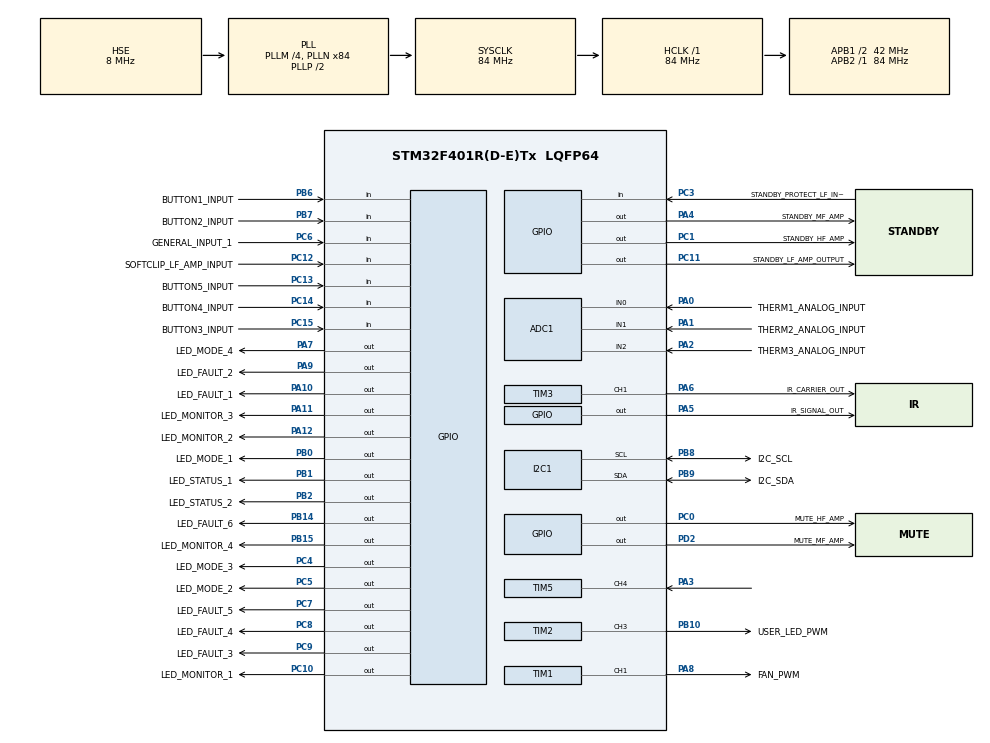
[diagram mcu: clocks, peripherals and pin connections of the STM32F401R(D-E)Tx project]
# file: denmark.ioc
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ADC1.Channel-1\#ChannelRegularConversion=ADC_CHANNEL_0
ADC1.Channel-2\#ChannelRegularConversion=ADC_CHANNEL_1
ADC1.Channel-3\#ChannelRegularConversion=ADC_CHANNEL_2
ADC1.ContinuousConvMode=ENABLE
ADC1.DMAContinuousRequests=ENABLE
ADC1.EOCSelection=ADC_EOC_SEQ_CONV
ADC1.NbrOfConversion=3
ADC1.NbrOfConversionFlag=1
ADC1.Rank-1\#ChannelRegularConversion=1
ADC1.Rank-2\#ChannelRegularConversion=2
ADC1.Rank-3\#ChannelRegularConversion=3
ADC1.SamplingTime-1\#ChannelRegularConversion=ADC_SAMPLETIME_112CYCLES
ADC1.SamplingTime-2\#ChannelRegularConversion=ADC_SAMPLETIME_112CYCLES
ADC1.SamplingTime-3\#ChannelRegularConversion=ADC_SAMPLETIME_112CYCLES
ADC1.ScanConvMode=ENABLE
ADC1.master=1
Dma.ADC1.0.Direction=DMA_PERIPH_TO_MEMORY
Dma.ADC1.0.FIFOMode=DMA_FIFOMODE_DISABLE
Dma.ADC1.0.Instance=DMA2_Stream0
Dma.ADC1.0.MemDataAlignment=DMA_MDATAALIGN_WORD
Dma.ADC1.0.MemInc=DMA_MINC_ENABLE
Dma.ADC1.0.Mode=DMA_CIRCULAR
Dma.ADC1.0.PeriphDataAlignment=DMA_PDATAALIGN_WORD
Dma.ADC1.0.PeriphInc=DMA_PINC_DISABLE
Dma.ADC1.0.Priority=DMA_PRIORITY_LOW
Dma.Request0=ADC1
FREERTOS.Tasks01=defaultTask,0,128,StartDefaultTask,Default,NULL,Dynamic,NULL,NULL
FREERTOS.configUSE_NEWLIB_REENTRANT=1
FREERTOS.configUSE_PREEMPTION=0
Mcu.Family=STM32F4
Mcu.Name=STM32F401R(D-E)Tx
Mcu.Package=LQFP64
NVIC.DMA2_Stream0_IRQn=true\:5\:0\:false\:false\:true\:true\:false\:true\:true
NVIC.PriorityGroup=NVIC_PRIORITYGROUP_4
NVIC.TIM1_BRK_TIM9_IRQn=true\:15\:0\:false\:false\:true\:false\:false\:true\:true
NVIC.TIM5_IRQn=true\:5\:0\:false\:false\:true\:true\:true\:true\:true
NVIC.TimeBase=TIM1_BRK_TIM9_IRQn
NVIC.TimeBaseIP=TIM9
PA0-WKUP.GPIO_Label=THERM1_ANALOG_INPUT
PA0-WKUP.Signal=ADCx_IN0
PA1.GPIO_Label=THERM2_ANALOG_INPUT
PA1.Signal=ADCx_IN1
PA10.GPIO_Label=LED_FAULT_1
PA10.Signal=GPIO_Output
PA11.GPIO_Label=LED_MONITOR_3
PA11.Signal=GPIO_Output
PA12.GPIO_Label=LED_MONITOR_2
PA12.Signal=GPIO_Output
PA13.Mode=JTAG_5_pins
PA13.Signal=SYS_JTMS-SWDIO
PA14.Mode=JTAG_5_pins
PA14.Signal=SYS_JTCK-SWCLK
PA15.Mode=JTAG_5_pins
PA15.Signal=SYS_JTDI
PA2.GPIO_Label=THERM3_ANALOG_INPUT
PA2.Signal=ADCx_IN2
PA3.Signal=S_TIM5_CH4
PA4.GPIO_Label=STANDBY_MF_AMP
PA4.PinState=GPIO_PIN_SET
PA4.Signal=GPIO_Output
PA5.GPIO_Label=IR_SIGNAL_OUT
PA5.Signal=GPIO_Output
PA6.GPIO_Label=IR_CARRIER_OUT
PA6.Signal=S_TIM3_CH1
PA7.GPIO_Label=LED_MODE_4
PA7.Signal=GPIO_Output
PA8.GPIO_Label=FAN_PWM
PA8.GPIO_Speed=GPIO_SPEED_FREQ_HIGH
PA8.Signal=S_TIM1_CH1
PA9.GPIO_Label=LED_FAULT_2
PA9.Signal=GPIO_Output
PB0.GPIO_Label=LED_MODE_1
PB0.Signal=GPIO_Output
PB1.GPIO_Label=LED_STATUS_1
PB1.Signal=GPIO_Output
PB10.GPIO_Label=USER_LED_PWM
PB10.Signal=S_TIM2_CH3
PB14.GPIO_Label=LED_FAULT_6
PB14.Signal=GPIO_Output
PB15.GPIO_Label=LED_MONITOR_4
PB15.Signal=GPIO_Output
PB2.GPIO_Label=LED_STATUS_2
PB2.Signal=GPIO_Output
PB3.Mode=JTAG_5_pins
PB3.Signal=SYS_JTDO-SWO
PB4.Mode=JTAG_5_pins
PB4.Signal=SYS_JTRST
PB6.GPIO_Label=BUTTON1_INPUT
PB6.GPIO_PuPd=GPIO_PULLUP
PB6.Signal=GPIO_Input
PB7.GPIO_Label=BUTTON2_INPUT
PB7.GPIO_PuPd=GPIO_PULLUP
PB7.Signal=GPIO_Input
PB8.GPIO_Label=I2C_SCL
PB8.Mode=I2C
PB8.Signal=I2C1_SCL
PB9.GPIO_Label=I2C_SDA
PB9.Mode=I2C
PB9.Signal=I2C1_SDA
PC0.GPIO_Label=MUTE_HF_AMP
PC0.PinState=GPIO_PIN_SET
PC0.Signal=GPIO_Output
PC1.GPIO_Label=STANDBY_HF_AMP
PC1.PinState=GPIO_PIN_SET
PC1.Signal=GPIO_Output
PC10.GPIO_Label=LED_MONITOR_1
PC10.Signal=GPIO_Output
PC11.GPIO_Label=STANDBY_LF_AMP_OUTPUT
PC11.GPIO_ModeDefaultOutputPP=GPIO_MODE_OUTPUT_PP
PC11.GPIO_PuPd=GPIO_NOPULL
PC11.PinState=GPIO_PIN_SET
PC11.Signal=GPIO_Output
PC12.GPIO_Label=SOFTCLIP_LF_AMP_INPUT
PC12.GPIO_PuPd=GPIO_PULLUP
PC12.Signal=GPIO_Input
PC13-ANTI_TAMP.GPIO_Label=BUTTON5_INPUT
PC13-ANTI_TAMP.GPIO_PuPd=GPIO_PULLUP
PC13-ANTI_TAMP.Signal=GPIO_Input
PC14-OSC32_IN.GPIO_Label=BUTTON4_INPUT
PC14-OSC32_IN.GPIO_PuPd=GPIO_PULLUP
PC14-OSC32_IN.Signal=GPIO_Input
PC15-OSC32_OUT.GPIO_Label=BUTTON3_INPUT
PC15-OSC32_OUT.GPIO_PuPd=GPIO_PULLUP
PC15-OSC32_OUT.Signal=GPIO_Input
PC3.GPIO_Label=STANDBY_PROTECT_LF_INPUT
PC3.GPIO_PuPd=GPIO_PULLUP
PC3.Signal=GPIO_Input
PC4.GPIO_Label=LED_MODE_3
PC4.Signal=GPIO_Output
PC5.GPIO_Label=LED_MODE_2
PC5.Signal=GPIO_Output
PC6.GPIO_Label=GENERAL_INPUT_1
PC6.GPIO_PuPd=GPIO_PULLUP
PC6.Signal=GPIO_Input
PC7.GPIO_Label=LED_FAULT_5
PC7.Signal=GPIO_Output
PC8.GPIO_Label=LED_FAULT_4
PC8.Signal=GPIO_Output
PC9.GPIO_Label=LED_FAULT_3
PC9.Signal=GPIO_Output
PD2.GPIO_Label=MUTE_MF_AMP
PD2.PinState=GPIO_PIN_SET
PD2.Signal=GPIO_Output
PH0\ -\ OSC_IN.Mode=HSE-External-Oscillator
PH0\ -\ OSC_IN.Signal=RCC_OSC_IN
PH1\ -\ OSC_OUT.Mode=HSE-External-Oscillator
PH1\ -\ OSC_OUT.Signal=RCC_OSC_OUT
ProjectManager.HeapSize=0x200
ProjectManager.StackSize=0x400
ProjectManager.TargetToolchain=STM32CubeIDE
RCC.48MHZClocksFreq_Value=42000000
RCC.AHBFreq_Value=84000000
RCC.APB1CLKDivider=RCC_HCLK_DIV2
RCC.APB1Freq_Value=42000000
RCC.APB1TimFreq_Value=84000000
RCC.APB2Freq_Value=84000000
RCC.APB2TimFreq_Value=84000000
RCC.CortexFreq_Value=84000000
RCC.HCLKFreq_Value=84000000
RCC.HSE_VALUE=8000000
RCC.HSI_VALUE=16000000
RCC.LSE_VALUE=32768
RCC.PLLI2SN=50
RCC.PLLM=4
RCC.PLLN=84
RCC.PLLSourceVirtual=RCC_PLLSOURCE_HSE
RCC.SYSCLKFreq_VALUE=84000000
RCC.SYSCLKSource=RCC_SYSCLKSOURCE_PLLCLK
RCC.VCOOutputFreq_Value=168000000
SH.ADCx_IN0.0=ADC1_IN0,IN0
SH.ADCx_IN1.0=ADC1_IN1,IN1
SH.ADCx_IN2.0=ADC1_IN2,IN2
SH.S_TIM1_CH1.0=TIM1_CH1,PWM Generation1 CH1
SH.S_TIM2_CH3.0=TIM2_CH3,PWM Generation3 CH3
SH.S_TIM3_CH1.0=TIM3_CH1,PWM Generation1 CH1
SH.S_TIM5_CH4.0=TIM5_CH4,Input_Capture4_from_TI4
TIM1.AutoReloadPreload=TIM_AUTORELOAD_PRELOAD_ENABLE
TIM1.Channel-PWM\ Generation1\ CH1=TIM_CHANNEL_1
TIM1.OCMode_PWM-PWM\ Generation1\ CH1=TIM_OCMODE_PWM1
TIM1.OCPolarity_1=TIM_OCPOLARITY_LOW
TIM1.Period=3360
TIM1.Pulse-PWM\ Generation1\ CH1=1000
TIM2.Channel-PWM\ Generation3\ CH3=TIM_CHANNEL_3
TIM3.AutoReloadPreload=TIM_AUTORELOAD_PRELOAD_ENABLE
TIM3.Channel-PWM\ Generation1\ CH1=TIM_CHANNEL_1
TIM3.ClockDivision=TIM_CLOCKDIVISION_DIV1
TIM3.OCFastMode_PWM-PWM\ Generation1\ CH1=TIM_OCFAST_DISABLE
TIM3.OCPolarity_1=TIM_OCPOLARITY_LOW
TIM3.Period=2210
TIM3.Pulse-PWM\ Generation1\ CH1=1105
TIM5.AutoReloadPreload=TIM_AUTORELOAD_PRELOAD_ENABLE
TIM5.Channel-Input_Capture4_from_TI4=TIM_CHANNEL_4
VP_FREERTOS_VS_CMSIS_V1.Mode=CMSIS_V1
VP_SYS_VS_tim9.Mode=TIM9
VP_TIM1_VS_ClockSourceINT.Mode=Internal
board=custom

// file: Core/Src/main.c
/* USER CODE BEGIN Header */
/**
  ******************************************************************************
  * @file           : main.c
  * @brief          : Main program body
  ******************************************************************************
  * @attention
  *
  * Copyright (c) 2023 STMicroelectronics.
  * All rights reserved.
  *
  * This software is licensed under terms that can be found in the LICENSE file
  * in the root directory of this software component.
  * If no LICENSE file comes with this software, it is provided AS-IS.
  *
  ******************************************************************************
  */
/* USER CODE END Header */
#include "main.h"
#include "cmsis_os.h"
#include "adc.h"
#include "dma.h"
#include "i2c.h"
#include "tim.h"
#include "gpio.h"
#include "infrared.h"

/* USER CODE BEGIN Includes */
#include "dsp.h"
/* USER CODE END Includes */

void SystemClock_Config(void);
void MX_FREERTOS_Init(void);

int main(void)
{

  /* MCU Configuration--------------------------------------------------------*/

  /* Reset of all peripherals, Initializes the Flash interface and the Systick. */
  HAL_Init();

  /* Configure the system clock */
  SystemClock_Config();

  /* Initialize all configured peripherals */
  MX_GPIO_Init();
  MX_DMA_Init();
  MX_ADC1_Init();
  MX_I2C1_Init();
  MX_TIM1_Init();
  MX_TIM2_Init();
  MX_TIM3_Init();
  MX_TIM5_Init();
  /* USER CODE BEGIN 2 */
  setup_ir_transmitter();

  /* USER CODE END 2 */

  /* Call init function for freertos objects (in freertos.c) */
  MX_FREERTOS_Init();

  /* Start scheduler */
  osKernelStart();

  /* We should never get here as control is now taken by the scheduler */
  /* Infinite loop */
  while (1)
  {

  }
}

void SystemClock_Config(void)
{
  RCC_OscInitTypeDef RCC_OscInitStruct = {0};
  RCC_ClkInitTypeDef RCC_ClkInitStruct = {0};

  /** Configure the main internal regulator output voltage
  */
  __HAL_RCC_PWR_CLK_ENABLE();
  __HAL_PWR_VOLTAGESCALING_CONFIG(PWR_REGULATOR_VOLTAGE_SCALE2);

  /** Initializes the RCC Oscillators according to the specified parameters
  * in the RCC_OscInitTypeDef structure.
  */
  RCC_OscInitStruct.OscillatorType = RCC_OSCILLATORTYPE_LSI|RCC_OSCILLATORTYPE_HSE;
  RCC_OscInitStruct.HSEState = RCC_HSE_ON;
  RCC_OscInitStruct.LSIState = RCC_LSI_ON;
  RCC_OscInitStruct.PLL.PLLState = RCC_PLL_ON;
  RCC_OscInitStruct.PLL.PLLSource = RCC_PLLSOURCE_HSE;
  RCC_OscInitStruct.PLL.PLLM = 4;
  RCC_OscInitStruct.PLL.PLLN = 84;
  RCC_OscInitStruct.PLL.PLLP = RCC_PLLP_DIV2;
  RCC_OscInitStruct.PLL.PLLQ = 4;
  if (HAL_RCC_OscConfig(&RCC_OscInitStruct) != HAL_OK)
  {
    Error_Handler();
  }

  /** Initializes the CPU, AHB and APB buses clocks
  */
  RCC_ClkInitStruct.ClockType = RCC_CLOCKTYPE_HCLK|RCC_CLOCKTYPE_SYSCLK
                              |RCC_CLOCKTYPE_PCLK1|RCC_CLOCKTYPE_PCLK2;
  RCC_ClkInitStruct.SYSCLKSource = RCC_SYSCLKSOURCE_PLLCLK;
  RCC_ClkInitStruct.AHBCLKDivider = RCC_SYSCLK_DIV1;
  RCC_ClkInitStruct.APB1CLKDivider = RCC_HCLK_DIV2;
  RCC_ClkInitStruct.APB2CLKDivider = RCC_HCLK_DIV1;

  if (HAL_RCC_ClockConfig(&RCC_ClkInitStruct, FLASH_LATENCY_2) != HAL_OK)
  {
    Error_Handler();
  }
}

/* USER CODE BEGIN 4 */

//from embedblog.eu/?p=673
//The _write function is used by printf. Overloading it will send printf characters over the SWV interface

int _write(int file, char *ptr, int len)
{
    for (int DataIdx = 0; DataIdx < len; DataIdx++)
        ITM_SendChar(*ptr++);

    return len;
}

/* USER CODE END 4 */

void HAL_TIM_PeriodElapsedCallback(TIM_HandleTypeDef *htim)
{
  if (htim->Instance == TIM9) {
    HAL_IncTick();
  }
}

void Error_Handler(void)
{
  __disable_irq();
  while (1)
  {
  }
}

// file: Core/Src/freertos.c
/* USER CODE BEGIN Header */
/**
  ******************************************************************************
  * File Name          : freertos.c
  * Description        : Code for freertos applications
  ******************************************************************************
  * @attention
  *
  * Copyright (c) 2023 STMicroelectronics.
  * All rights reserved.
  *
  * This software is licensed under terms that can be found in the LICENSE file
  * in the root directory of this software component.
  * If no LICENSE file comes with this software, it is provided AS-IS.
  *
  ******************************************************************************
  */
/* USER CODE END Header */

#include "FreeRTOS.h"
#include "task.h"
#include "main.h"
#include "cmsis_os.h"

/* USER CODE BEGIN Includes */
#include "display.h"
#include "queue.h"
#include "input.h"
#include "temperature.h"
#include "dsp.h"
#include "fan.h"
#include "power.h"

extern QueueHandle_t xDisplayQueue;
extern QueueHandle_t xTemperatureQueue;
extern QueueHandle_t xFanQueue;
extern QueueHandle_t xPowerQueue;

/* USER CODE END Includes */

/* USER CODE BEGIN Variables */
osThreadId displayTaskHandle;
osThreadId inputTaskHandle;
osThreadId temperatureTaskHandle;
osThreadId fanTaskHandle;
osThreadId powerTaskHandle;

/* USER CODE END Variables */
osThreadId defaultTaskHandle;

void StartDefaultTask(void const * argument);

void MX_FREERTOS_Init(void); /* (MISRA C 2004 rule 8.1) */

/* GetIdleTaskMemory prototype (linked to static allocation support) */
void vApplicationGetIdleTaskMemory( StaticTask_t **ppxIdleTaskTCBBuffer, StackType_t **ppxIdleTaskStackBuffer, uint32_t *pulIdleTaskStackSize );

/* USER CODE BEGIN GET_IDLE_TASK_MEMORY */
static StaticTask_t xIdleTaskTCBBuffer;
static StackType_t xIdleStack[configMINIMAL_STACK_SIZE];

void vApplicationGetIdleTaskMemory( StaticTask_t **ppxIdleTaskTCBBuffer, StackType_t **ppxIdleTaskStackBuffer, uint32_t *pulIdleTaskStackSize )
{
  *ppxIdleTaskTCBBuffer = &xIdleTaskTCBBuffer;
  *ppxIdleTaskStackBuffer = &xIdleStack[0];
  *pulIdleTaskStackSize = configMINIMAL_STACK_SIZE;
  /* place for user code */
}
/* USER CODE END GET_IDLE_TASK_MEMORY */

void MX_FREERTOS_Init(void) {
  /* USER CODE BEGIN Init */

	//QUEUES
	xDisplayQueue = xQueueCreate(30, sizeof(displayMessage_t));
	xTemperatureQueue = xQueueCreate(30, sizeof(uint8_t));
	xFanQueue = xQueueCreate(30, sizeof(uint8_t));
	xPowerQueue = xQueueCreate(30, sizeof(uint8_t));

	//TASKS
	osThreadDef(displayTask, StartDisplayTask, osPriorityNormal, 0, 128);
	displayTaskHandle = osThreadCreate(osThread(displayTask), NULL);

	osThreadDef(inputTask, StartInputTask, osPriorityNormal, 0, 128);
	inputTaskHandle = osThreadCreate(osThread(inputTask), NULL);

	osThreadDef(temperatureTask, StartTemperatureTask, osPriorityNormal, 0, 128);
	temperatureTaskHandle = osThreadCreate(osThread(temperatureTask), NULL);

	osThreadDef(fanTask, StartFanTask, osPriorityNormal, 0, 128);
	fanTaskHandle = osThreadCreate(osThread(fanTask), NULL);

	osThreadDef(powerTask, StartPowerTask, osPriorityNormal, 0, 128);
	powerTaskHandle = osThreadCreate(osThread(powerTask), NULL);

  /* USER CODE END Init */

  /* Create the thread(s) */
  /* definition and creation of defaultTask */
  osThreadDef(defaultTask, StartDefaultTask, osPriorityNormal, 0, 128);
  defaultTaskHandle = osThreadCreate(osThread(defaultTask), NULL);

}

void StartDefaultTask(void const * argument)
{
  /* USER CODE BEGIN StartDefaultTask */
  /* Infinite loop */

  for(;;)
  {

	  osDelay(400);

  }
  /* USER CODE END StartDefaultTask */
}
